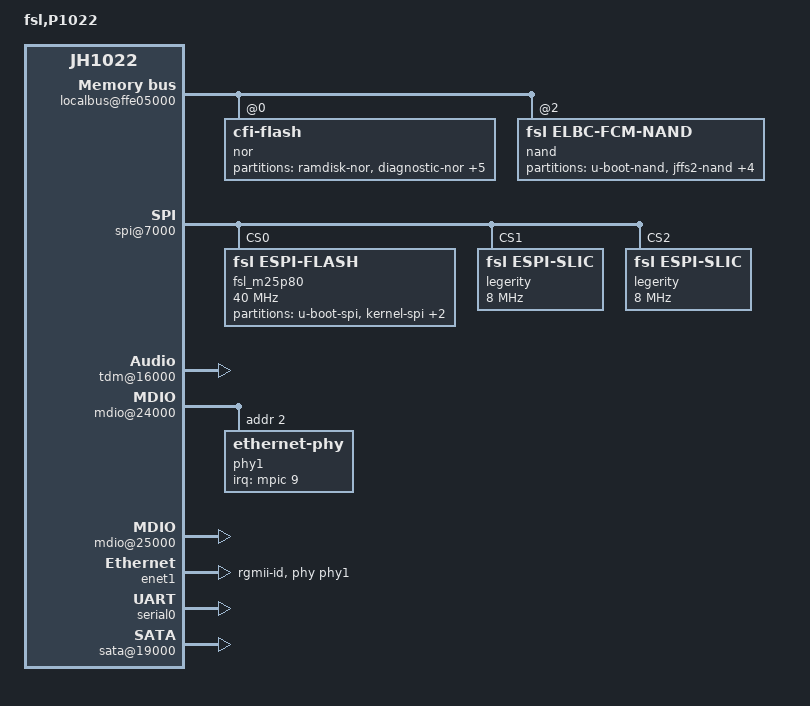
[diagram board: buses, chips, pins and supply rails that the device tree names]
/*
 * P1022 DS Core1 Device Tree Source in CAMP mode.
 *
 * In CAMP mode, each core needs to have its own dts. Only mpic and L2 cache
 * can be shared, all the other devices must be assigned to one core only.
 * This dts file allows core1 to have l2, dma2, eth1, pcie1, spi, elbc tdm and
 * sata2.
 *
 * Please note to add "-b 1" for core1's dts compiling.
 *
 * Copyright 2010-2011 Freescale Semiconductor Inc.
 *
 * This program is free software; you can redistribute  it and/or modify it
 * under  the terms of  the GNU General  Public License as published by the
 * Free Software Foundation;  either version 2 of the  License, or (at your
 * option) any later version.
 */

/dts-v1/;
/ {
	model = "fsl,P1022";
	compatible = "fsl,P1022DS", "fsl,P1022DS-CAMP";
	#address-cells = <1>;
	#size-cells = <1>;

	aliases {
		ethernet1 = &enet1;
		serial0 = &serial0;
	};

	cpus {
		#address-cells = <1>;
		#size-cells = <0>;

		PowerPC,P1022@1 {
			device_type = "cpu";
			reg = <0x1>;
			next-level-cache = <&L2>;
		};

	};

	memory {
		device_type = "memory";
		reg = <0x0 0x0>;		// Filled by U-Boot
	};

	localbus@ffe05000 {
		#address-cells = <2>;
		#size-cells = <1>;
		compatible = "fsl,elbc", "simple-bus";
		reg = <0xffe05000 0x1000>;
		interrupts = <19 2>;
		interrupt-parent = <&mpic>;

		ranges = <0x0 0x0 0xe8000000 0x08000000
			  0x1 0x0 0xe0000000 0x08000000
			  0x2 0x0 0xff800000 0x00040000
			  0x3 0x0 0xffdf0000 0x00008000>;

		nor@0,0 {
			#address-cells = <1>;
			#size-cells = <1>;
			compatible = "cfi-flash";
			reg = <0x0 0x0 0x8000000>;
			bank-width = <2>;
			device-width = <1>;

			partition@0 {
				reg = <0x0 0x03000000>;
				label = "ramdisk-nor";
				read-only;
			};

			partition@3000000 {
				reg = <0x03000000 0x00e00000>;
				label = "diagnostic-nor";
				read-only;
			};

			partition@3e00000 {
				reg = <0x03e00000 0x00200000>;
				label = "dink-nor";
				read-only;
			};

			partition@4000000 {
				reg = <0x04000000 0x00400000>;
				label = "kernel-nor";
				read-only;
			};

			partition@4400000 {
				reg = <0x04400000 0x03b00000>;
				label = "jffs2-nor";
			};

			partition@7f00000 {
				reg = <0x07f00000 0x00080000>;
				label = "dtb-nor";
				read-only;
			};

			partition@7f80000 {
				reg = <0x07f80000 0x00080000>;
				label = "u-boot-nor";
				read-only;
			};
		};

		nand@2,0 {
			#address-cells = <1>;
			#size-cells = <1>;
			compatible = "fsl,elbc-fcm-nand";
			reg = <0x2 0x0 0x40000>;

			partition@0 {
				reg = <0x0 0x02000000>;
				label = "u-boot-nand";
				read-only;
			};

			partition@2000000 {
				reg = <0x02000000 0x10000000>;
				label = "jffs2-nand";
			};

			partition@12000000 {
				reg = <0x12000000 0x08000000>;
				label = "ramdisk-nand";
				read-only;
			};

			partition@1a000000 {
				reg = <0x1a000000 0x04000000>;
				label = "kernel-nand";
			};

			partition@1e000000 {
				reg = <0x1e000000 0x01000000>;
				label = "dtb-nand";
				read-only;
			};

			partition@1f000000 {
				reg = <0x1f000000 0x21000000>;
				label = "reserved-nand";
			};
		};
	};

	soc@ffe00000 {
		#address-cells = <1>;
		#size-cells = <1>;
		device_type = "soc";
		compatible = "simple-bus";
		ranges = <0x0 0xffe00000 0x100000>;
		// CCSRBAR & soc regs, remove once parse code for immrbase fixed
		reg = <0xffe00000 0x1000>;
		bus-frequency = <0>;		// Filled out by uboot.

		L2: l2-cache-controller@20000 {
			compatible = "fsl,p1022-l2-cache-controller";
			reg = <0x20000 0x1000>;
			cache-line-size = <32>;	// 32 bytes
			cache-size = <0x40000>;	// L2, 256K
			interrupt-parent = <&mpic>;
		};

		spi@7000 {
			cell-index = <0>;
			#address-cells = <1>;
			#size-cells = <0>;
			compatible = "fsl,espi";
			reg = <0x7000 0x1000>;
			interrupts = <59 0x2>;
			interrupt-parent = <&mpic>;
			espi,num-ss-bits = <4>;
			mode = "cpu";

			fsl_m25p80@0 {
				#address-cells = <1>;
				#size-cells = <1>;
				compatible = "fsl,espi-flash";
				reg = <0>;
				linux,modalias = "fsl_m25p80";
				spi-max-frequency = <40000000>; /* input clock */
				partition@0 {
					label = "u-boot-spi";
					reg = <0x00000000 0x00100000>;
					read-only;
				};
				partition@100000 {
					label = "kernel-spi";
					reg = <0x00100000 0x00500000>;
					read-only;
				};
				partition@600000 {
					label = "dtb-spi";
					reg = <0x00600000 0x00100000>;
					read-only;
				};
				partition@700000 {
					label = "file system-spi";
					reg = <0x00700000 0x00900000>;
				};
			};

			legerity@0{
				compatible = "fsl,espi-slic";
				reg = <1>;
				linux,modalias = "legerity";
				spi-max-frequency = <8000000>;
				ch1-rx-slot = <0>;
				ch1-tx-slot = <0>;
				ch2-rx-slot = <2>;
				ch2-tx-slot = <2>;
			};

			legerity@1{
				compatible = "fsl,espi-slic";
				reg = <2>;
				linux,modalias = "legerity";
				spi-max-frequency = <8000000>;
				ch1-rx-slot = <4>;
				ch1-tx-slot = <4>;
				ch2-rx-slot = <6>;
				ch2-tx-slot = <6>;
			};
		};

		dma@c300 {
			#address-cells = <1>;
			#size-cells = <1>;
			compatible = "fsl,p1022-dma", "fsl,eloplus-dma";
			reg = <0xc300 0x4>;
			ranges = <0x0 0xc100 0x200>;
			cell-index = <0>;
			dma-channel@0 {
				compatible = "fsl,eloplus-dma-channel";
				reg = <0x0 0x80>;
				cell-index = <0>;
				interrupt-parent = <&mpic>;
				interrupts = <76 2>;
			};
			dma-channel@80 {
				compatible = "fsl,eloplus-dma-channel";
				reg = <0x80 0x80>;
				cell-index = <1>;
				interrupt-parent = <&mpic>;
				interrupts = <77 2>;
			};
			dma-channel@100 {
				compatible = "fsl,eloplus-dma-channel";
				reg = <0x100 0x80>;
				cell-index = <2>;
				interrupt-parent = <&mpic>;
				interrupts = <78 2>;
			};
			dma-channel@180 {
				compatible = "fsl,eloplus-dma-channel";
				reg = <0x180 0x80>;
				cell-index = <3>;
				interrupt-parent = <&mpic>;
				interrupts = <79 2>;
			};
		};

		tdm@16000 {
			device_type = "tdm";
			compatible = "fsl,starlite-tdm";
			reg = <0x16000 0x1000 0x2c000 0x2000>;
			clock-frequency = <0>;
			interrupts = <63 8 62 8>;
			interrupt-parent = < &mpic >;
		};

		mdio@24000 {
			#address-cells = <1>;
			#size-cells = <0>;
			compatible = "fsl,etsec2-mdio";
			reg = <0x24000 0x1000 0xb0030 0x4>;

			phy1: ethernet-phy@1 {
				interrupt-parent = <&mpic>;
				interrupts = <9 1>;
				reg = <0x2>;
			};
		};

		mdio@25000 {
			#address-cells = <1>;
			#size-cells = <0>;
			compatible = "fsl,etsec2-mdio";
			reg = <0x25000 0x1000 0xb1030 0x4>;
		};

		enet1: ethernet@B1000 {
			#address-cells = <1>;
			#size-cells = <1>;
			cell-index = <0>;
			device_type = "network";
			model = "eTSEC";
			compatible = "fsl,etsec2";
			fsl,num_rx_queues = <0x8>;
			fsl,num_tx_queues = <0x8>;
			local-mac-address = [ 00 00 00 00 00 00 ];
			interrupt-parent = <&mpic>;
			fixed-link = <1 1 1000 0 0>;
			phy-handle = <&phy1>;
			phy-connection-type = "rgmii-id";
			queue-group@0{
				#address-cells = <1>;
				#size-cells = <1>;
				reg = <0xB1000 0x1000>;
				interrupts = <35 2 36 2 40 2>;
			};
			queue-group@1{
				#address-cells = <1>;
				#size-cells = <1>;
				reg = <0xB5000 0x1000>;
				interrupts = <51 2 52 2 67 2>;
			};
		};

		serial0: serial@4600 {
			cell-index = <1>;
			device_type = "serial";
			compatible = "ns16550";
			reg = <0x4600 0x100>;
			clock-frequency = <0>;
		};

		crypto@30000 {
			compatible = "fsl,sec3.3", "fsl,sec3.1","fsl,sec3.0",
				     "fsl,sec2.4", "fsl,sec2.2","fsl,sec2.1",
				     "fsl,sec2.0";
			reg = <0x30000 0x10000>;
			interrupts = <45 2 58 2>;
			interrupt-parent = <&mpic>;
			fsl,num-channels = <4>;
			fsl,channel-fifo-len = <24>;
			fsl,exec-units-mask = <0x97c>;
			fsl,descriptor-types-mask = <0x3a30abf>;
			fsl,multi-host-mode = "primary";
			fsl,channel-remap = <0x3>;
		};

		sata@19000 {
			compatible = "fsl,mpc8536-sata", "fsl,pq-sata";
			reg = <0x19000 0x1000>;
			cell-index = <2>;
			interrupts = <41 0x2>;
			interrupt-parent = <&mpic>;
		};

		mpic: pic@40000 {
			interrupt-controller;
			#address-cells = <0>;
			#interrupt-cells = <2>;
			reg = <0x40000 0x40000>;
			compatible = "chrp,open-pic";
			device_type = "open-pic";
			protected-sources = <
			24 16 3 42 58		/* MEM L2 mdio serial SEC-int1*/
			29 30 34 17 18 24	/* eth0 */
			20 21 22 23 75		/* dma1 ssi*/
			43 28 72		/* i2c usb esdhc */
			74 			/* sata1 pcie0 pcie1 */
			8 10 11 12 4 5 6 7	/* pcie intx */
			0 1  2  3
			0xb0 0xb1 0xb2 0xb3
			0xb4 0xb5 0xb6 0xb7	/* message */
			0xe0 0xe1 0xe2 0xe3	/* msi */
			0xe4 0xe5 0xe6 0xe7
			64			/* diu */
			>;
		};
	};
};
